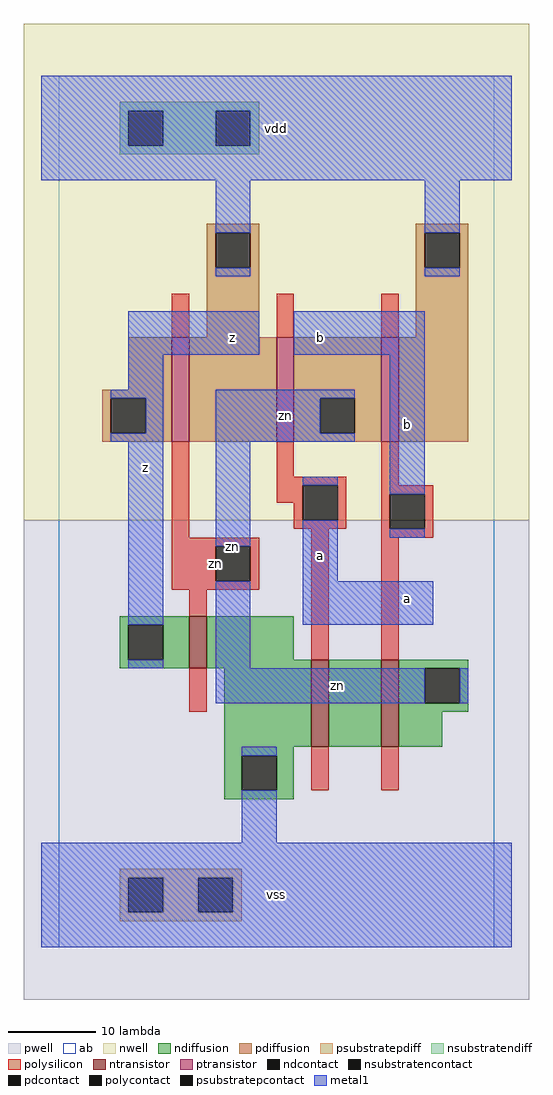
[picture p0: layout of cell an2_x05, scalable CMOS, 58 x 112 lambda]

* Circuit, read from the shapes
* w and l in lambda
.subckt an2_x05 a b vdd vss z zn
M1 vss zn z vss nfet w=6 l=2
M2 n1 a vss vss nfet w=10 l=2
M3 zn b n1 vss nfet w=10 l=2
M4 vdd zn z vdd pfet w=12 l=2
M5 zn a vdd vdd pfet w=12 l=2
M6 vdd b zn vdd pfet w=12 l=2
.ends

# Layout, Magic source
magic
tech scmos
<< ab >>
rect 0 0 50 100
<< pwell >>
rect -4 -6 54 49
<< nwell >>
rect -4 49 54 106
<< polysilicon >>
rect 13 70 15 75
rect 25 70 27 75
rect 37 70 39 75
rect 13 47 15 58
rect 25 54 27 58
rect 25 53 33 54
rect 25 51 28 53
rect 27 49 28 51
rect 32 49 33 53
rect 27 48 33 49
rect 37 53 39 58
rect 37 52 43 53
rect 37 48 38 52
rect 42 48 43 52
rect 13 46 23 47
rect 13 42 18 46
rect 22 42 23 46
rect 13 41 23 42
rect 15 38 17 41
rect 29 33 31 48
rect 37 47 43 48
rect 37 33 39 47
rect 15 27 17 32
rect 29 18 31 23
rect 37 18 39 23
<< ndiffusion >>
rect 7 37 15 38
rect 7 33 8 37
rect 12 33 15 37
rect 7 32 15 33
rect 17 33 27 38
rect 17 32 29 33
rect 19 23 29 32
rect 31 23 37 33
rect 39 32 47 33
rect 39 28 42 32
rect 46 28 47 32
rect 39 27 47 28
rect 39 23 44 27
rect 19 22 27 23
rect 19 18 21 22
rect 25 18 27 22
rect 19 17 27 18
<< pdiffusion >>
rect 17 82 23 83
rect 17 78 18 82
rect 22 78 23 82
rect 17 70 23 78
rect 41 82 47 83
rect 41 78 42 82
rect 46 78 47 82
rect 41 70 47 78
rect 8 64 13 70
rect 5 63 13 64
rect 5 59 6 63
rect 10 59 13 63
rect 5 58 13 59
rect 15 58 25 70
rect 27 63 37 70
rect 27 59 30 63
rect 34 59 37 63
rect 27 58 37 59
rect 39 58 47 70
<< metal1 >>
rect -2 88 52 100
rect 18 82 22 88
rect 18 77 22 78
rect 42 82 46 88
rect 42 77 46 78
rect 8 68 23 73
rect 27 68 42 73
rect 8 64 12 68
rect 6 63 12 64
rect 10 59 12 63
rect 6 58 12 59
rect 8 37 12 58
rect 8 32 12 33
rect 18 63 34 64
rect 18 59 30 63
rect 18 58 34 59
rect 18 46 22 58
rect 18 32 22 42
rect 28 53 32 54
rect 28 42 32 49
rect 38 52 42 68
rect 38 47 42 48
rect 28 37 43 42
rect 18 28 42 32
rect 46 28 47 32
rect 21 22 25 23
rect 21 12 25 18
rect -2 0 52 12
<< ntransistor >>
rect 15 32 17 38
rect 29 23 31 33
rect 37 23 39 33
<< ptransistor >>
rect 13 58 15 70
rect 25 58 27 70
rect 37 58 39 70
<< polycontact >>
rect 28 49 32 53
rect 38 48 42 52
rect 18 42 22 46
<< ndcontact >>
rect 8 33 12 37
rect 42 28 46 32
rect 21 18 25 22
<< pdcontact >>
rect 18 78 22 82
rect 42 78 46 82
rect 6 59 10 63
rect 30 59 34 63
<< psubstratepcontact >>
rect 8 4 12 8
rect 16 4 20 8
<< nsubstratencontact >>
rect 8 92 12 96
rect 18 92 22 96
<< psubstratepdiff >>
rect 7 8 21 9
rect 7 4 8 8
rect 12 4 16 8
rect 20 4 21 8
rect 7 3 21 4
<< nsubstratendiff >>
rect 7 96 23 97
rect 7 92 8 96
rect 12 92 18 96
rect 22 92 23 96
rect 7 91 23 92
<< labels >>
rlabel polysilicon 18 44 18 44 6 zn
rlabel metal1 20 46 20 46 6 zn
rlabel metal1 10 55 10 55 6 z
rlabel metal1 10 55 10 55 6 z
rlabel metal1 20 70 20 70 6 z
rlabel metal1 20 70 20 70 6 z
rlabel metal1 25 6 25 6 6 vss
rlabel metal1 25 6 25 6 6 vss
rlabel metal1 30 45 30 45 6 a
rlabel metal1 30 45 30 45 6 a
rlabel metal1 26 61 26 61 6 zn
rlabel metal1 30 70 30 70 6 b
rlabel metal1 30 70 30 70 6 b
rlabel metal1 25 94 25 94 6 vdd
rlabel metal1 25 94 25 94 6 vdd
rlabel metal1 40 40 40 40 6 a
rlabel metal1 40 40 40 40 6 a
rlabel metal1 32 30 32 30 6 zn
rlabel metal1 40 60 40 60 6 b
rlabel metal1 40 60 40 60 6 b
<< end >>
